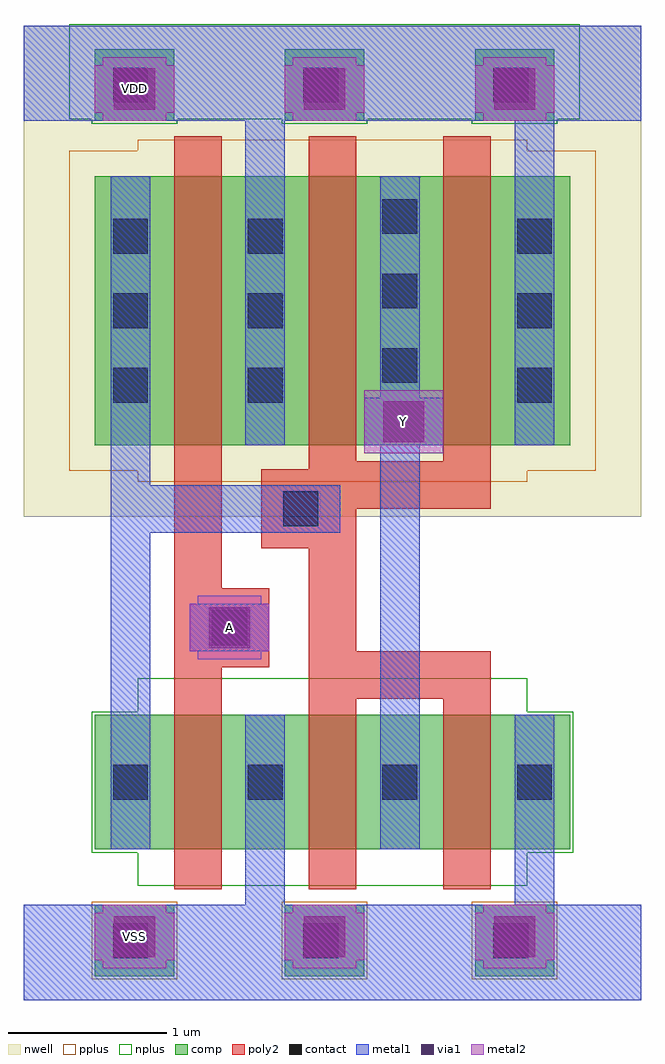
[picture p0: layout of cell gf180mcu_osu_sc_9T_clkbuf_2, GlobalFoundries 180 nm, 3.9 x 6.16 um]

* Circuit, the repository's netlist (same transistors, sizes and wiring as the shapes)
* Copyright 2022 Google LLC
*
* Licensed under the Apache License, Version 2.0 (the "License");
* you may not use this file except in compliance with the License.
* You may obtain a copy of the License at
*
*      http://www.apache.org/licenses/LICENSE-2.0
*
* Unless required by applicable law or agreed to in writing, software
* distributed under the License is distributed on an "AS IS" BASIS,
* WITHOUT WARRANTIES OR CONDITIONS OF ANY KIND, either express or implied.
* See the License for the specific language governing permissions and
* limitations under the License.

.option scale=0.05u

.subckt gf180mcu_osu_sc_9T_clkbuf_2 A Y
X0 Y a_9_19 VDD VDD pmos_3p3 w=34 l=6
X1 VSS a_9_19 Y VSS nmos_3p3 w=17 l=6
X2 VSS A a_9_19 VSS nmos_3p3 w=17 l=6
X3 VDD a_9_19 Y VDD pmos_3p3 w=34 l=6
X4 VDD A a_9_19 VDD pmos_3p3 w=34 l=6
X5 Y a_9_19 VSS VSS nmos_3p3 w=17 l=6
.ends

** hspice subcircuit dictionary

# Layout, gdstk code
import gdstk
lib = gdstk.Library(unit=1e-6, precision=1e-09)
def R(c, l, rs):  # rectangles x0, y0, x1, y1
    for r in rs: c.add(gdstk.rectangle(r[:2], r[2:], *l))
def A(c, l, x, y, w, h, nx, ny, dx, dy):  # array of equal rectangles
    R(c, l, [(x+i*dx, y+j*dy, x+i*dx+w, y+j*dy+h) for i in range(nx) for j in range(ny)])
nwell = (21, 0)
comp = (22, 0)
poly2 = (30, 0)
pplus = (31, 0)
nplus = (32, 0)
contact = (33, 0)
metal1 = (34, 0)
via1 = (35, 0)
metal2 = (36, 0)

gf180mcu_osu_sc_9t_clkbu = lib.new_cell('gf180mcu_osu_sc_9T_clkbuf_2')
R(gf180mcu_osu_sc_9t_clkbu, nwell, [(0,3.05,3.9,6.15)])
A(gf180mcu_osu_sc_9t_clkbu, comp, 0.45, 0.15, 0.5, 0.45, 3, 2, 1.2, 5.4)
R(gf180mcu_osu_sc_9t_clkbu, comp, [(0.45,0.95,3.45,1.8), (0.45,3.5,3.45,5.2)])
R(gf180mcu_osu_sc_9t_clkbu, poly2, [(0.95,0.7,1.25,2.1), (1.8,0.7,2.1,1.9), (2.65,0.7,2.95,1.9), (1.8,1.9,2.95,2.2), (0.95,2.1,1.55,2.6), (1.8,2.2,2.1,2.85), (0.95,2.6,1.25,5.45), (1.5,2.85,2.1,3.1), (1.5,3.1,2.95,3.35), (1.8,3.35,2.95,3.4), (1.8,3.4,2.1,5.45), (2.65,3.4,2.95,5.45)])
A(gf180mcu_osu_sc_9t_clkbu, pplus, 0.43, 0.13, 0.54, 0.49, 3, 1, 1.2, 0)
R(gf180mcu_osu_sc_9t_clkbu, pplus, [(0.72,3.27,3.18,3.34), (0.29,3.34,3.61,5.36), (0.72,5.36,3.18,5.43)])
A(gf180mcu_osu_sc_9t_clkbu, nplus, 0.43, 5.53, 0.54, 0.03, 3, 1, 1.2, 0)
R(gf180mcu_osu_sc_9t_clkbu, nplus, [(0.72,0.72,3.18,0.93), (0.43,0.93,3.47,1.82), (0.72,1.82,3.18,2.03), (0.29,5.56,3.51,6.16)])
A(gf180mcu_osu_sc_9t_clkbu, contact, 0.565, 0.265, 0.22, 0.22, 3, 2, 1.2, 5.4)
A(gf180mcu_osu_sc_9t_clkbu, contact, 0.565, 1.265, 0.22, 0.22, 4, 1, 0.85, 0)
A(gf180mcu_osu_sc_9t_clkbu, contact, 0.565, 3.77, 0.22, 0.22, 1, 3, 0, 0.47)
A(gf180mcu_osu_sc_9t_clkbu, contact, 1.415, 3.77, 0.22, 0.22, 1, 3, 0, 0.47)
A(gf180mcu_osu_sc_9t_clkbu, contact, 3.115, 3.77, 0.22, 0.22, 1, 3, 0, 0.47)
A(gf180mcu_osu_sc_9t_clkbu, contact, 2.265, 3.895, 0.22, 0.22, 1, 3, 0, 0.47)
R(gf180mcu_osu_sc_9t_clkbu, contact, [(1.19,2.24,1.41,2.46), (1.64,2.99,1.86,3.21)])
R(gf180mcu_osu_sc_9t_clkbu, metal1, [(0,0,3.9,0.6), (1.4,0.6,1.65,1.8), (3.1,0.6,3.35,1.8), (0.55,0.95,0.8,2.95), (2.25,0.95,2.5,3.5), (1.05,2.2,1.55,2.5), (0.55,2.95,2,3.25), (0.55,3.25,0.8,5.2), (1.4,3.5,1.65,5.55), (2.15,3.5,2.65,3.8), (3.1,3.5,3.35,5.55), (2.25,3.8,2.5,5.2), (0,5.55,3.9,6.15)])
A(gf180mcu_osu_sc_9t_clkbu, via1, 0.57, 0.27, 0.26, 0.26, 3, 2, 1.2, 5.35)
R(gf180mcu_osu_sc_9t_clkbu, via1, [(1.17,2.22,1.43,2.48), (2.27,3.52,2.53,3.78)])
A(gf180mcu_osu_sc_9t_clkbu, metal2, 0.5, 0.2, 0.4, 0.05, 3, 2, 1.2, 0.35)
A(gf180mcu_osu_sc_9t_clkbu, metal2, 0.45, 0.25, 0.5, 0.3, 3, 2, 1.2, 5.35)
A(gf180mcu_osu_sc_9t_clkbu, metal2, 0.5, 5.55, 0.4, 0.05, 3, 2, 1.2, 0.35)
R(gf180mcu_osu_sc_9t_clkbu, metal2, [(1.1,2.15,1.5,2.2), (1.05,2.2,1.55,2.5), (1.1,2.5,1.5,2.55), (2.15,3.45,2.65,3.85)])
gf180mcu_osu_sc_9t_clkbu.add(gdstk.Label('VDD', (0.7,5.75), layer=36, texttype=0))
gf180mcu_osu_sc_9t_clkbu.add(gdstk.Label('VSS', (0.7,0.4), layer=36, texttype=0))
gf180mcu_osu_sc_9t_clkbu.add(gdstk.Label('A', (1.3,2.35), layer=36, texttype=10))
gf180mcu_osu_sc_9t_clkbu.add(gdstk.Label('Y', (2.4,3.65), layer=36, texttype=10))

lib.write_gds('gf180mcu_osu_sc_9T_clkbuf_2.gds')
